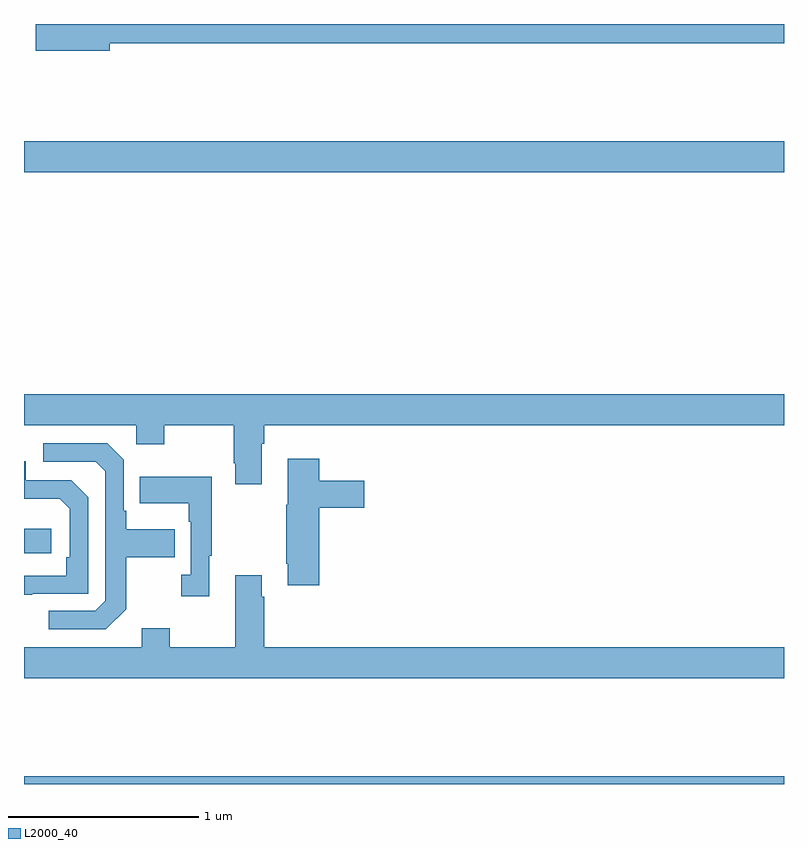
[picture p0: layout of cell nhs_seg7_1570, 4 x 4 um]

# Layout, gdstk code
import gdstk
lib = gdstk.Library(unit=1e-6, precision=1e-09)
def R(c, l, rs):  # rectangles x0, y0, x1, y1
    for r in rs: c.add(gdstk.rectangle(r[:2], r[2:], *l))
def P(c, l, *ps):  # polygons
    for p in ps: c.add(gdstk.Polygon(p, *l))
L2000_40 = (2000, 40)

nhs_seg7_1570 = lib.new_cell('nhs_seg7_1570')
R(nhs_seg7_1570, L2000_40, [(217,1060,221,1060.04), (217,1061.214,217.144,1061.344), (217,1063.22,221,1063.384)])
P(nhs_seg7_1570, L2000_40, [(217.45,1063.9),(221,1063.9),(221,1064),(217.062,1064),(217.062,1063.858),(217.45,1063.858)],
  [(218.251,1061.792),(218.264,1061.792),(218.264,1061.888),(221,1061.888),(221,1062.052),(217,1062.052),(217,1061.888),(217.59,1061.888),(217.59,1061.789),(217.737,1061.789),(217.737,1061.888),(218.104,1061.888),(218.104,1061.689),(218.111,1061.689),(218.111,1061.577),(218.251,1061.577)],
  [(217.537,1060.921),(217.537,1061.194),(217.793,1061.194),(217.793,1061.341),(217.537,1061.341),(217.537,1061.437),(217.524,1061.437),(217.524,1061.706),(217.437,1061.793),(217.101,1061.793),(217.101,1061.697),(217.377,1061.697),(217.428,1061.646),(217.428,1060.965),(217.374,1060.911),(217.131,1060.911),(217.131,1060.815),(217.431,1060.815)],
  [(218.555,1061.453),(218.791,1061.453),(218.791,1061.595),(218.555,1061.595),(218.555,1061.713),(218.387,1061.713),(218.387,1061.469),(218.38,1061.469),(218.38,1061.158),(218.387,1061.158),(218.387,1061.046),(218.555,1061.046)],
  [(217.043,1061.001),(217.338,1061.001),(217.338,1061.508),(217.248,1061.598),(217.008,1061.598),(217.008,1061.7),(217,1061.7),(217,1061.501),(217.189,1061.501),(217.242,1061.448),(217.242,1061.194),(217.222,1061.194),(217.222,1061.097),(217,1061.097),(217,1060.996),(217.043,1060.996)],
  [(217.975,1061.201),(217.987,1061.201),(217.987,1061.617),(217.609,1061.617),(217.609,1061.477),(217.866,1061.477),(217.866,1061.381),(217.878,1061.381),(217.878,1061.102),(217.827,1061.102),(217.827,1060.989),(217.975,1060.989)],
  [(221,1060.72),(218.264,1060.72),(218.264,1060.985),(218.251,1060.985),(218.251,1061.098),(218.111,1061.098),(218.111,1060.72),(217.767,1060.72),(217.767,1060.819),(217.619,1060.819),(217.619,1060.72),(217,1060.72),(217,1060.556),(221,1060.556)])

lib.write_gds('nhs_seg7_1570.gds')
